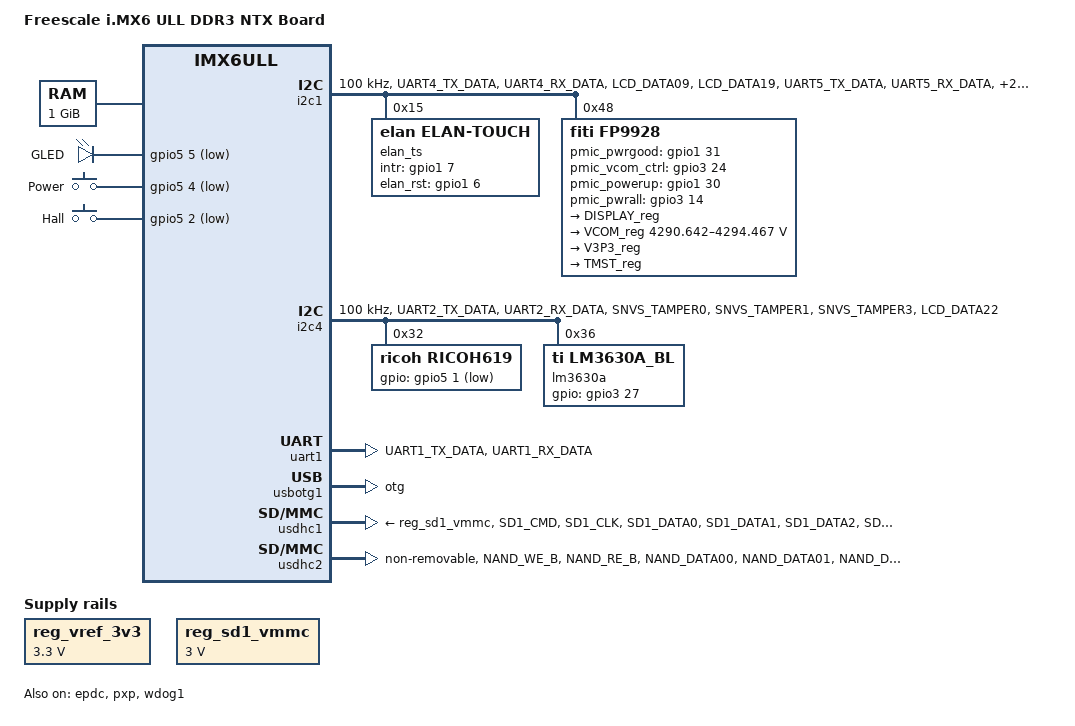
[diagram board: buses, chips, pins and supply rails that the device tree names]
/*
 * Copyright (C) 2016 Freescale Semiconductor, Inc.
 *
 * This program is free software; you can redistribute it and/or modify
 * it under the terms of the GNU General Public License version 2 as
 * published by the Free Software Foundation.
 */

/dts-v1/;

#include <dt-bindings/input/input.h>
#include "imx6ull-ntx.dtsi"

/ {
	model = "Freescale i.MX6 ULL DDR3 NTX Board";
	compatible = "fsl,imx6ull-ddr3-arm2", "fsl,imx6ull";

	chosen {
		stdout-path = &uart1;
	};

	memory {
		reg = <0x80000000 0x40000000>;
	};

	pxp_v4l2 {
		compatible = "fsl,imx6ul-pxp-v4l2", "fsl,imx6sx-pxp-v4l2", "fsl,imx6sl-pxp-v4l2";
		status = "okay";
	};

	aliases {
		mmc0 = &usdhc2;
		mmc1 = &usdhc1;
	};

	regulators {
		compatible = "simple-bus";
		#address-cells = <1>;
		#size-cells = <0>;

		reg_vref_3v3: regulator@1 {
			compatible = "regulator-fixed";
			regulator-name = "vref-3v3";
			regulator-min-microvolt = <3300000>;
			regulator-max-microvolt = <3300000>;
		};
		reg_sd1_vmmc: wifi_regulator {
			compatible = "regulator-fixed";
			regulator-name = "SD1_SPWR";
			regulator-min-microvolt = <3000000>;
			regulator-max-microvolt = <3000000>;
			wifipwr-gpio = <&gpio5 8 GPIO_ACTIVE_HIGH>;
			wifirst-gpio = <&gpio5 7 GPIO_ACTIVE_HIGH>;
			wifiint-gpio = <&gpio5 6 GPIO_ACTIVE_HIGH>;
		};
	};

	leds {
		compatible = "gpio-leds";
		pinctrl-names = "default";
		pinctrl-0 = <&pinctrl_snvs_led>;

		user {
			label = "GLED";
			gpios = <&gpio5 5 GPIO_ACTIVE_LOW>;
			linux,default-trigger = "timer";
		};
	};

	gpio-keys {
		compatible = "gpio-keys";
		pinctrl-names = "default";
		pinctrl-0 = <&pinctrl_snvs_gpio_keys>;
		power {
			label = "Power";
			gpios = <&gpio5 4 GPIO_ACTIVE_LOW>;
			linux,code = <KEY_POWER>;
			gpio-key,wakeup;
		};
		hall {
			label = "Hall";
			gpios = <&gpio5 2 GPIO_ACTIVE_LOW>;
			linux,code = <KEY_F1>;
			/* linux,code = <KEY_H>; */
			gpio-key,wakeup;
		};
	};

	usb_plug {
		compatible = "usb_plug";
	};
	ntx_bl {
		compatible = "ntx_bl";
	};
	ntx_led {
		compatible = "ntx_led";
	};
	ntx_event0 {
		compatible = "ntx_event0";
	};
};

&clks {
	/* For bringup, comments this.
	assigned-clocks = <&clks IMX6UL_CLK_PLL4_AUDIO_DIV>;
	assigned-clock-rates = <786432000>;
	*/
};

&cpu0 {
	/*
	 * on i.MX6ULL, no seperated VDD_ARM_IN and VDD_SOC_IN,
	 * to align with other platform and use the same cpufreq
	 * driver, still use the seperated OPP define for arm
	 * and soc.
	 */
	operating-points = <
		/* kHz	uV */
		900000  1250000
		792000	1200000
		528000	1175000
		396000	1175000
		198000	1175000
	>;
	fsl,soc-operating-points = <
		/* KHz	uV */
		900000  1250000
		792000	1200000
		528000	1175000
		396000	1175000
		198000	1175000
	>;
	arm-supply = <&reg_arm>;
	soc-supply = <&reg_soc>;
/*	arm-supply = <&ricoh619_dcdc1_reg>;*/
/*	soc-supply = <&ricoh619_dcdc1_reg>;*/
/*	fsl,arm-soc-shared = <1>; */
};

&csi {
	status = "disabled";
};

&epdc {
	pinctrl-names = "default";
	pinctrl-0 = <&pinctrl_epdc0>;
	V3P3-supply = <&V3P3_reg>;
	VCOM-supply = <&VCOM_reg>;
	DISPLAY-supply = <&DISPLAY_reg>;
	TMST-supply = <&TMST_reg>;
	status = "okay";
};

&fec1 {
	status = "disabled";
};

&gpc {
	fsl,cpu_pupscr_sw2iso = <0x1>;
	fsl,cpu_pupscr_sw = <0x0>;
	fsl,cpu_pdnscr_iso2sw = <0x1>;
	fsl,cpu_pdnscr_iso = <0x1>;
	fsl,ldo-bypass = <0>; /* use ldo-bypass, u-boot will check it and configure */
};

&gpmi {
	pinctrl-names = "default";
	pinctrl-0 = <&pinctrl_gpmi_nand_1>;
	status = "disabled";
	nand-on-flash-bbt;
};

&i2c1 {
	clock-frequency = <100000>;
	pinctrl-names = "default","sleep";
	pinctrl-0 = <&pinctrl_i2c1 &pinctrl_fp9928_gpio &pinctrl_elan_ts_gpio>;
	pinctrl-1 = <&pinctrl_i2c1_sleep &pinctrl_elan_ts_gpio_sleep>;
	status = "okay";

	elan_ts@15 {
		compatible = "elan,elan-touch";
		reg = <0x15>;

		gpio_intr = <&gpio1 7 0>;
		gpio_elan_rst = <&gpio1 6 0>;
	};

	fp9928@48 {
		compatible = "fiti,fp9928";
		reg = <0x48>;

		gpio_pmic_pwrgood = <&gpio1 31 0>;
		gpio_pmic_vcom_ctrl = <&gpio3 24 GPIO_ACTIVE_HIGH>;
		gpio_pmic_powerup = <&gpio1 30 GPIO_ACTIVE_HIGH>;
		gpio_pmic_pwrall = <&gpio3 14 GPIO_ACTIVE_HIGH>;

		regulators {
			DISPLAY_reg: DISPLAY {
				regulator-name = "DISPLAY";
			};

			VCOM_reg: VCOM {
				regulator-name = "VCOM";
				/* 2's-compliment, -4325000 */
				regulator-min-microvolt = <0xffbe0178>;
				/* 2's-compliment, -500000 */
				regulator-max-microvolt = <0xfff85ee0>;
			};

			V3P3_reg: V3P3 {
				regulator-name = "V3P3";
			};
			TMST_reg: TMST {
				regulator-name = "TMST";
			};

		};
	};
};

&i2c4 {
	clock-frequency = <100000>;
	pinctrl-names = "default";
	pinctrl-0 = <&pinctrl_i2c4 &pinctrl_ricoh_gpio &pinctrl_lm3630a_bl_gpio>;
	status = "okay";

	ricoh619: ricoh619-i2c@32 {
		reg = <0x32>;
		compatible = "ricoh,ricoh619";
		gpios = <&gpio5 1 GPIO_ACTIVE_LOW>;
	};

	lm3630a: lm3630a-i2c@36 {
		reg = <0x36>;
		compatible = "ti,lm3630a_bl";
		gpios = <&gpio3 27 0>;
	};

};

#include "ricoh619_mx6ull_lpddr2.dtsi"

&iomuxc {
	pinctrl-names = "default", "sleep";

	imx6ul-ddr3-arm2 {
		pinctrl_adc1: adc1grp {
			fsl,pins = <
				MX6UL_PAD_GPIO1_IO00__GPIO1_IO00        0xb0
				MX6UL_PAD_GPIO1_IO01__GPIO1_IO01        0xb0
			>;
		};


		pinctrl_csi1: csi1grp {
			fsl,pins = <
				MX6UL_PAD_CSI_MCLK__CSI_MCLK		0x1b088
				MX6UL_PAD_CSI_PIXCLK__CSI_PIXCLK	0x1b088
				MX6UL_PAD_CSI_VSYNC__CSI_VSYNC		0x1b088
				MX6UL_PAD_CSI_HSYNC__CSI_HSYNC		0x1b088
				MX6UL_PAD_CSI_DATA00__CSI_DATA02	0x1b088
				MX6UL_PAD_CSI_DATA01__CSI_DATA03	0x1b088
				MX6UL_PAD_CSI_DATA02__CSI_DATA04	0x1b088
				MX6UL_PAD_CSI_DATA03__CSI_DATA05	0x1b088
				MX6UL_PAD_CSI_DATA04__CSI_DATA06	0x1b088
				MX6UL_PAD_CSI_DATA05__CSI_DATA07	0x1b088
				MX6UL_PAD_CSI_DATA06__CSI_DATA08	0x1b088
				MX6UL_PAD_CSI_DATA07__CSI_DATA09	0x1b088
			>;
		};

		pinctrl_ecspi1_cs_1: ecspi1_cs_grp-1 {
			fsl,pins = <
				MX6UL_PAD_CSI_DATA05__GPIO4_IO26  0x10b0
			>;
		};

		pinctrl_ecspi1_1: ecspi1grp-1 {
			fsl,pins = <
				MX6UL_PAD_CSI_DATA06__ECSPI1_MOSI 0x10b0
				MX6UL_PAD_CSI_DATA07__ECSPI1_MISO 0x10b0
				MX6UL_PAD_CSI_DATA04__ECSPI1_SCLK 0x10b0
			>;
		};

		pinctrl_enet1: enet1grp {
			fsl,pins = <
				MX6UL_PAD_ENET1_RX_EN__ENET1_RX_EN	0x1b0b0
				MX6UL_PAD_ENET1_RX_ER__ENET1_RX_ER	0x1b0b0
				MX6UL_PAD_ENET1_RX_DATA0__ENET1_RDATA00	0x1b0b0
				MX6UL_PAD_ENET1_RX_DATA1__ENET1_RDATA01	0x1b0b0
				MX6UL_PAD_ENET1_TX_EN__ENET1_TX_EN	0x1b0b0
				MX6UL_PAD_ENET1_TX_DATA0__ENET1_TDATA00	0x1b0b0
				MX6UL_PAD_ENET1_TX_DATA1__ENET1_TDATA01	0x1b0b0
				MX6UL_PAD_ENET1_TX_CLK__ENET1_REF_CLK1	0x4001b0a0
			>;
		};

		pinctrl_enet2: enet2grp {
			fsl,pins = <
				MX6UL_PAD_GPIO1_IO07__ENET2_MDC		0x1b098
				MX6UL_PAD_GPIO1_IO06__ENET2_MDIO	0x1b0b0
				MX6UL_PAD_ENET2_TX_DATA0__ENET2_TDATA00	0x1b0a0
				MX6UL_PAD_ENET2_TX_DATA1__ENET2_TDATA01	0x1b0a0
				MX6UL_PAD_UART4_TX_DATA__ENET2_TDATA02	0x1b0a0
				MX6UL_PAD_UART4_RX_DATA__ENET2_TDATA03	0x1b0a0
				MX6UL_PAD_ENET2_TX_CLK__ENET2_TX_CLK	0x4001b0a8
				MX6UL_PAD_ENET2_TX_EN__ENET2_TX_EN	0x1b0b0
				MX6UL_PAD_ENET2_RX_DATA0__ENET2_RDATA00	0x1b0b0
				MX6UL_PAD_ENET2_RX_DATA1__ENET2_RDATA01	0x1b0b0
				MX6UL_PAD_UART3_TX_DATA__ENET2_RDATA02	0x1b0b0
				MX6UL_PAD_UART3_RX_DATA__ENET2_RDATA03	0x1b0b0
				MX6UL_PAD_ENET2_RX_EN__ENET2_RX_EN	0x1b0b0
				MX6UL_PAD_ENET2_RX_ER__ENET2_RX_ER	0x1b0b0
				MX6UL_PAD_UART3_CTS_B__ENET2_RX_CLK	0x4001b0a8
				MX6UL_PAD_UART5_RX_DATA__ENET2_COL	0x1b0b0
				MX6UL_PAD_UART5_TX_DATA__ENET2_CRS	0x1b0b0
			>;
		};

                pinctrl_epdc0: epdcgrp0 {
                        fsl,pins = <
				MX6UL_PAD_ENET2_RX_DATA0__EPDC_SDDO08                    0x10b1
				MX6UL_PAD_ENET2_RX_DATA1__EPDC_SDDO09                    0x10b1
				MX6UL_PAD_ENET2_RX_EN__EPDC_SDDO10                       0x10b1
				MX6UL_PAD_ENET2_TX_DATA0__EPDC_SDDO11                    0x10b1
				MX6UL_PAD_ENET2_TX_DATA1__EPDC_SDDO12                    0x10b1
				MX6UL_PAD_ENET2_TX_EN__EPDC_SDDO13                       0x10b1
				MX6UL_PAD_ENET2_TX_CLK__EPDC_SDDO14                      0x10b1
				MX6UL_PAD_ENET2_RX_ER__EPDC_SDDO15                       0x10b1
				MX6UL_PAD_LCD_CLK__EPDC_SDCLK                            0x10b1
				MX6UL_PAD_LCD_ENABLE__EPDC_SDLE                          0x10b1
				MX6UL_PAD_LCD_HSYNC__EPDC_SDOE                           0x10b1
				MX6UL_PAD_LCD_VSYNC__EPDC_SDCE0                          0x10b1
				MX6UL_PAD_LCD_DATA00__EPDC_SDDO00                        0x10b1
				MX6UL_PAD_LCD_DATA01__EPDC_SDDO01                        0x10b1
				MX6UL_PAD_LCD_DATA02__EPDC_SDDO02                        0x10b1
				MX6UL_PAD_LCD_DATA03__EPDC_SDDO03                        0x10b1
				MX6UL_PAD_LCD_DATA04__EPDC_SDDO04                        0x10b1
				MX6UL_PAD_LCD_DATA05__EPDC_SDDO05                        0x10b1
				MX6UL_PAD_LCD_DATA06__EPDC_SDDO06                        0x10b1
				MX6UL_PAD_LCD_DATA07__EPDC_SDDO07                        0x10b1
				MX6UL_PAD_LCD_DATA14__EPDC_SDSHR                         0x10b1
				MX6UL_PAD_LCD_DATA15__EPDC_GDRL                          0x10b1
				MX6UL_PAD_LCD_DATA16__EPDC_GDCLK                         0x10b1
				MX6UL_PAD_LCD_DATA17__EPDC_GDSP                          0x10b1
				MX6UL_PAD_LCD_RESET__EPDC_GDOE                           0x10b1
                        >;
                };

		pinctrl_esai: esaigrp {
			fsl,pins = <
				MX6UL_PAD_CSI_DATA00__ESAI_TX_HF_CLK     0x1b0b0
				MX6UL_PAD_CSI_DATA01__ESAI_RX_HF_CLK     0x1b0b0
				MX6UL_PAD_CSI_DATA04__ESAI_TX_FS         0x1b0b0
				MX6UL_PAD_CSI_DATA05__ESAI_TX_CLK        0x1b0b0
				MX6UL_PAD_CSI_DATA07__ESAI_T0            0x1b0b0
				MX6UL_PAD_CSI_HSYNC__ESAI_TX1            0x1b0b0
				MX6UL_PAD_CSI_PIXCLK__ESAI_TX2_RX3       0x1b0b0
				MX6UL_PAD_CSI_MCLK__ESAI_TX3_RX2         0x1b0b0
				MX6UL_PAD_CSI_DATA02__ESAI_RX_FS         0x1b0b0
				MX6UL_PAD_CSI_DATA03__ESAI_RX_CLK        0x1b0b0
				MX6UL_PAD_CSI_DATA06__ESAI_TX5_RX0       0x1b0b0
				MX6UL_PAD_CSI_VSYNC__ESAI_TX4_RX1        0x1b0b0
			>;
		};

		pinctrl_flexcan2: flexcan2grp{
			fsl,pins = <
				MX6UL_PAD_UART2_RTS_B__FLEXCAN2_RX	0x1b020
				MX6UL_PAD_UART2_CTS_B__FLEXCAN2_TX	0x1b020
				MX6UL_PAD_JTAG_TRST_B__GPIO1_IO15	0x17059	/* STBY */
			>;
		};

		pinctrl_gpmi_nand_1: gpmi-nand-1 {
			fsl,pins = <
				MX6UL_PAD_NAND_CLE__RAWNAND_CLE         0xb0b1
				MX6UL_PAD_NAND_ALE__RAWNAND_ALE         0xb0b1
				MX6UL_PAD_NAND_WP_B__RAWNAND_WP_B       0xb0b1
				MX6UL_PAD_NAND_READY_B__RAWNAND_READY_B 0xb000
				MX6UL_PAD_NAND_CE0_B__RAWNAND_CE0_B     0xb0b1
				MX6UL_PAD_NAND_CE1_B__RAWNAND_CE1_B     0xb0b1
				MX6UL_PAD_NAND_RE_B__RAWNAND_RE_B       0xb0b1
				MX6UL_PAD_NAND_WE_B__RAWNAND_WE_B       0xb0b1
				MX6UL_PAD_NAND_DATA00__RAWNAND_DATA00   0xb0b1
				MX6UL_PAD_NAND_DATA01__RAWNAND_DATA01   0xb0b1
				MX6UL_PAD_NAND_DATA02__RAWNAND_DATA02   0xb0b1
				MX6UL_PAD_NAND_DATA03__RAWNAND_DATA03   0xb0b1
				MX6UL_PAD_NAND_DATA04__RAWNAND_DATA04   0xb0b1
				MX6UL_PAD_NAND_DATA05__RAWNAND_DATA05   0xb0b1
				MX6UL_PAD_NAND_DATA06__RAWNAND_DATA06   0xb0b1
				MX6UL_PAD_NAND_DATA07__RAWNAND_DATA07   0xb0b1
			>;
		};

		pinctrl_i2c1: i2c1grp {
			fsl,pins = <
				MX6UL_PAD_UART4_TX_DATA__I2C1_SCL	0x4001F8b0
				MX6UL_PAD_UART4_RX_DATA__I2C1_SDA	0x4001F8b0
			>;
		};

		pinctrl_i2c1_sleep: i2c1grp_sleep {
			fsl,pins = <
				MX6UL_PAD_UART4_TX_DATA__I2C1_SCL	0x400108b0
				MX6UL_PAD_UART4_RX_DATA__I2C1_SDA	0x400108b0
			>;
		};

		pinctrl_i2c4: i2c4grp {
			fsl,pins = <
				MX6UL_PAD_UART2_TX_DATA__I2C4_SCL	0x4001F8b0
				MX6UL_PAD_UART2_RX_DATA__I2C4_SDA	0x4001F8b0
			>;
		};

		pinctrl_i2c4_sleep: i2c4grp_sleep {
			fsl,pins = <
				MX6UL_PAD_UART2_TX_DATA__I2C4_SCL	0x400108b0
				MX6UL_PAD_UART2_RX_DATA__I2C4_SDA	0x400108b0
			>;
		};

		pinctrl_lcdif_dat: lcdifdatgrp {
			fsl,pins = <
				MX6UL_PAD_LCD_DATA00__LCDIF_DATA00  0x79
				MX6UL_PAD_LCD_DATA01__LCDIF_DATA01  0x79
				MX6UL_PAD_LCD_DATA02__LCDIF_DATA02  0x79
				MX6UL_PAD_LCD_DATA03__LCDIF_DATA03  0x79
				MX6UL_PAD_LCD_DATA04__LCDIF_DATA04  0x79
				MX6UL_PAD_LCD_DATA05__LCDIF_DATA05  0x79
				MX6UL_PAD_LCD_DATA06__LCDIF_DATA06  0x79
				MX6UL_PAD_LCD_DATA07__LCDIF_DATA07  0x79
				MX6UL_PAD_LCD_DATA08__LCDIF_DATA08  0x79
				MX6UL_PAD_LCD_DATA09__LCDIF_DATA09  0x79 
				MX6UL_PAD_LCD_DATA10__LCDIF_DATA10  0x79
				MX6UL_PAD_LCD_DATA11__LCDIF_DATA11  0x79 
				MX6UL_PAD_LCD_DATA12__LCDIF_DATA12  0x79
				MX6UL_PAD_LCD_DATA13__LCDIF_DATA13  0x79
				MX6UL_PAD_LCD_DATA14__LCDIF_DATA14  0x79
				MX6UL_PAD_LCD_DATA15__LCDIF_DATA15  0x79
				MX6UL_PAD_LCD_DATA16__LCDIF_DATA16  0x79
				MX6UL_PAD_LCD_DATA17__LCDIF_DATA17  0x79
				MX6UL_PAD_LCD_DATA18__LCDIF_DATA18  0x79
				MX6UL_PAD_LCD_DATA19__LCDIF_DATA19  0x79 
				MX6UL_PAD_LCD_DATA20__LCDIF_DATA20  0x79
				MX6UL_PAD_LCD_DATA21__LCDIF_DATA21  0x79
				MX6UL_PAD_LCD_DATA22__LCDIF_DATA22  0x79
				MX6UL_PAD_LCD_DATA23__LCDIF_DATA23  0x79
			>;
		};

		pinctrl_lcdif_ctrl: lcdifctrlgrp {
			fsl,pins = <
				MX6UL_PAD_LCD_CLK__LCDIF_CLK	    0x79
				MX6UL_PAD_LCD_ENABLE__LCDIF_ENABLE  0x79
				MX6UL_PAD_LCD_HSYNC__LCDIF_HSYNC    0x79
				MX6UL_PAD_LCD_VSYNC__LCDIF_VSYNC    0x79
				MX6UL_PAD_LCD_RESET__LCDIF_RESET    0x79
			>;
		};

		pinctrl_mqs: mqsgrp {
			fsl,pins = <
				MX6UL_PAD_JTAG_TDI__MQS_LEFT         0x11088
				MX6UL_PAD_JTAG_TDO__MQS_RIGHT        0x11088
			>;
		};

		pinctrl_pwm1: pmw1grp {
			fsl,pins = <
				MX6UL_PAD_ENET1_RX_DATA0__PWM1_OUT   0x110b0
			>;
		};

		pinctrl_qspi: qspigrp {
			fsl,pins = <
				MX6UL_PAD_NAND_WP_B__QSPI_A_SCLK      0x70a1
				MX6UL_PAD_NAND_READY_B__QSPI_A_DATA00 0x70a1
				MX6UL_PAD_NAND_CE0_B__QSPI_A_DATA01   0x70a1
				MX6UL_PAD_NAND_CE1_B__QSPI_A_DATA02   0x70a1
				MX6UL_PAD_NAND_CLE__QSPI_A_DATA03     0x70a1
				MX6UL_PAD_NAND_DQS__QSPI_A_SS0_B      0x70a1
#ifdef REWORKED_ENABLE_ALL_QSPI
				MX6UL_PAD_NAND_DATA07__QSPI_A_SS1_B   0x70a1
				MX6UL_PAD_NAND_RE_B__QSPI_B_SCLK      0x70a1
				MX6UL_PAD_NAND_DATA02__QSPI_B_DATA00  0x70a1
				MX6UL_PAD_NAND_DATA03__QSPI_B_DATA01  0x70a1
				MX6UL_PAD_NAND_DATA04__QSPI_B_DATA02  0x70a1
				MX6UL_PAD_NAND_DATA05__QSPI_B_DATA03  0x70a1
				MX6UL_PAD_NAND_WE_B__QSPI_B_SS0_B     0x70a1
				MX6UL_PAD_NAND_DATA00__QSPI_B_SS1_B   0x70a1
#endif
			>;
		};

		pinctrl_sai2: sai2grp {
			fsl,pins = <
				MX6UL_PAD_SD1_DATA0__SAI2_TX_SYNC     0x1b0b0
				MX6UL_PAD_SD1_DATA1__SAI2_TX_BCLK     0x1b0b0
				MX6UL_PAD_SD1_DATA2__SAI2_RX_DATA     0x110b0
				MX6UL_PAD_SD1_DATA3__SAI2_TX_DATA     0x110b0
				MX6UL_PAD_SD1_CLK__SAI2_MCLK          0x1b0b0
			>;
		};

		pinctrl_uart1: uart1grp {
			fsl,pins = <
				MX6UL_PAD_UART1_TX_DATA__UART1_DCE_TX 0x1b0b1
				MX6UL_PAD_UART1_RX_DATA__UART1_DCE_RX 0x1b0b1
			>;
		};

		pinctrl_usb_otg1_id: usbotg1idgrp {
			fsl,pins = <
				MX6UL_PAD_GPIO1_IO00__ANATOP_OTG1_ID	0x17059
			>;
		};

		pinctrl_usb_otg1: usbotg1grp {
			fsl,pins = <
				MX6UL_PAD_GPIO1_IO04__GPIO1_IO04        0x10b0
			>;
		};

		pinctrl_usdhc1: usdhc1grp {
			fsl,pins = <
				MX6UL_PAD_SD1_CMD__USDHC1_CMD     0x17059
				MX6UL_PAD_SD1_CLK__USDHC1_CLK     0x10059
				MX6UL_PAD_SD1_DATA0__USDHC1_DATA0 0x17059
				MX6UL_PAD_SD1_DATA1__USDHC1_DATA1 0x17059
				MX6UL_PAD_SD1_DATA2__USDHC1_DATA2 0x17059
				MX6UL_PAD_SD1_DATA3__USDHC1_DATA3 0x17059
			>;
		};

		pinctrl_usdhc1_sleep: usdhc1grp_sleep {
			fsl,pins = <
				MX6UL_PAD_SD1_CMD__USDHC1_CMD     0x10059
				MX6UL_PAD_SD1_CLK__USDHC1_CLK     0x10059
				MX6UL_PAD_SD1_DATA0__USDHC1_DATA0 0x10059
				MX6UL_PAD_SD1_DATA1__USDHC1_DATA1 0x10059
				MX6UL_PAD_SD1_DATA2__USDHC1_DATA2 0x10059
				MX6UL_PAD_SD1_DATA3__USDHC1_DATA3 0x10059
			>;
		};

		pinctrl_usdhc1_100mhz: usdhc1grp100mhz {
			fsl,pins = <
				MX6UL_PAD_SD1_CMD__USDHC1_CMD     0x170b9
				MX6UL_PAD_SD1_CLK__USDHC1_CLK     0x100b9
				MX6UL_PAD_SD1_DATA0__USDHC1_DATA0 0x170b9
				MX6UL_PAD_SD1_DATA1__USDHC1_DATA1 0x170b9
				MX6UL_PAD_SD1_DATA2__USDHC1_DATA2 0x170b9
				MX6UL_PAD_SD1_DATA3__USDHC1_DATA3 0x170b9
			>;
		};

		pinctrl_usdhc1_200mhz: usdhc1grp200mhz {
			fsl,pins = <
				MX6UL_PAD_SD1_CMD__USDHC1_CMD     0x170f9
				MX6UL_PAD_SD1_CLK__USDHC1_CLK     0x100f9
				MX6UL_PAD_SD1_DATA0__USDHC1_DATA0 0x170f9
				MX6UL_PAD_SD1_DATA1__USDHC1_DATA1 0x170f9
				MX6UL_PAD_SD1_DATA2__USDHC1_DATA2 0x170f9
				MX6UL_PAD_SD1_DATA3__USDHC1_DATA3 0x170f9
			>;
		};

		pinctrl_usdhc1_8bit: usdhc1_8bit_grp {
			fsl,pins = <
				MX6UL_PAD_SD1_CMD__USDHC1_CMD     	0x17059
				MX6UL_PAD_SD1_CLK__USDHC1_CLK     	0x10059
				MX6UL_PAD_SD1_DATA0__USDHC1_DATA0 	0x17059
				MX6UL_PAD_SD1_DATA1__USDHC1_DATA1 	0x17059
				MX6UL_PAD_SD1_DATA2__USDHC1_DATA2 	0x17059
				MX6UL_PAD_SD1_DATA3__USDHC1_DATA3 	0x17059
				MX6UL_PAD_NAND_READY_B__USDHC1_DATA4	0x17059
				MX6UL_PAD_NAND_CE0_B__USDHC1_DATA5	0x17059
				MX6UL_PAD_NAND_CE1_B__USDHC1_DATA6	0x17059
				MX6UL_PAD_NAND_CLE__USDHC1_DATA7	0x17059
			>;
		};

		pinctrl_usdhc1_8bit_100mhz: usdhc1_8bit_100mhz_grp {
			fsl,pins = <
				MX6UL_PAD_SD1_CMD__USDHC1_CMD     	0x170b9
				MX6UL_PAD_SD1_CLK__USDHC1_CLK     	0x100b9
				MX6UL_PAD_SD1_DATA0__USDHC1_DATA0 	0x170b9
				MX6UL_PAD_SD1_DATA1__USDHC1_DATA1 	0x170b9
				MX6UL_PAD_SD1_DATA2__USDHC1_DATA2 	0x170b9
				MX6UL_PAD_SD1_DATA3__USDHC1_DATA3 	0x170b9
				MX6UL_PAD_NAND_READY_B__USDHC1_DATA4	0x170b9
				MX6UL_PAD_NAND_CE0_B__USDHC1_DATA5	0x170b9
				MX6UL_PAD_NAND_CE1_B__USDHC1_DATA6	0x170b9
				MX6UL_PAD_NAND_CLE__USDHC1_DATA7	0x170b9
			>;
		};

		pinctrl_usdhc1_8bit_200mhz: usdhc1_8bit_200mhz_grp {
			fsl,pins = <
				MX6UL_PAD_SD1_CMD__USDHC1_CMD     	0x170f9
				MX6UL_PAD_SD1_CLK__USDHC1_CLK     	0x100f9
				MX6UL_PAD_SD1_DATA0__USDHC1_DATA0 	0x170f9
				MX6UL_PAD_SD1_DATA1__USDHC1_DATA1 	0x170f9
				MX6UL_PAD_SD1_DATA2__USDHC1_DATA2 	0x170f9
				MX6UL_PAD_SD1_DATA3__USDHC1_DATA3 	0x170f9
				MX6UL_PAD_NAND_READY_B__USDHC1_DATA4	0x170f9
				MX6UL_PAD_NAND_CE0_B__USDHC1_DATA5	0x170f9
				MX6UL_PAD_NAND_CE1_B__USDHC1_DATA6	0x170f9
				MX6UL_PAD_NAND_CLE__USDHC1_DATA7	0x170f9
			>;
		};

		pinctrl_usdhc1_cd_wp: usdhc1_cd_wp_grp {
			fsl,pins = <
				MX6UL_PAD_UART1_RTS_B__GPIO1_IO19	0x17059	/* SD1 CD */
				MX6UL_PAD_UART1_CTS_B__GPIO1_IO18	0x17059	/* SD1 WP */
			>;
		};

		pinctrl_elan_ts_gpio: elan_ts_gpio_grp {
			fsl,pins = <
				MX6UL_PAD_GPIO1_IO07__GPIO1_IO07		0x17059 /* TP_INT */
				MX6UL_PAD_GPIO1_IO06__GPIO1_IO06		0x10059 /* TP_RST */
			>;
		};

		pinctrl_elan_ts_gpio_sleep: elan_ts_gpio_grp_sleep {
			fsl,pins = <
				MX6UL_PAD_GPIO1_IO07__GPIO1_IO07		0x10059 /* TP_INT */
				MX6UL_PAD_GPIO1_IO06__GPIO1_IO06		0x10059 /* TP_RST */
			>;
		};

		pinctrl_fp9928_gpio: fp9928_gpio_grp {
			fsl,pins = <
				MX6UL_PAD_LCD_DATA09__GPIO3_IO14_SION		0x10059 /* EP_PWRALL */
				MX6UL_PAD_LCD_DATA19__GPIO3_IO24_SION		0x10059 /* VCOM_CTRL0 */
				MX6UL_PAD_UART5_TX_DATA__GPIO1_IO30_SION		0x10059 /* EP_PWRCTRL2 */
				MX6UL_PAD_UART5_RX_DATA__GPIO1_IO31		0x10059 /* EP_PWRSTAT */
			>;
		};

		pinctrl_lm3630a_bl_gpio: lm3630a_bl_gpio_grp {
			fsl,pins = <
				MX6UL_PAD_LCD_DATA22__GPIO3_IO27		0x17059 /* FL_EN */
			>;
		};

		pinctrl_usdhc1_vselect: usdhc1_vselect_grp {
			fsl,pins = <
				MX6UL_PAD_GPIO1_IO05__USDHC1_VSELECT	0x17059	/* SD1 VSELECT */
			>;
		};

		pinctrl_usdhc2: usdhc2grp {
			fsl,pins = <
				MX6UL_PAD_NAND_WE_B__USDHC2_CMD	0x17059
				MX6UL_PAD_NAND_RE_B__USDHC2_CLK	0x10059
				MX6UL_PAD_NAND_DATA00__USDHC2_DATA0	0x17059
				MX6UL_PAD_NAND_DATA01__USDHC2_DATA1	0x17059
				MX6UL_PAD_NAND_DATA02__USDHC2_DATA2	0x17059
				MX6UL_PAD_NAND_DATA03__USDHC2_DATA3	0x17059
			>;
		};

		pinctrl_usdhc2_sleep: usdhc2grp_sleep {
			fsl,pins = <
				MX6UL_PAD_NAND_WE_B__USDHC2_CMD	0x10059
				MX6UL_PAD_NAND_RE_B__USDHC2_CLK	0x10059
				MX6UL_PAD_NAND_DATA00__USDHC2_DATA0	0x10059
				MX6UL_PAD_NAND_DATA01__USDHC2_DATA1	0x10059
				MX6UL_PAD_NAND_DATA02__USDHC2_DATA2	0x10059
				MX6UL_PAD_NAND_DATA03__USDHC2_DATA3	0x10059
			>;
		};

		pinctrl_usdhc2_100mhz: usdhc2grp100mhz {
			fsl,pins = <
				MX6UL_PAD_NAND_WE_B__USDHC2_CMD	0x170b9
				MX6UL_PAD_NAND_RE_B__USDHC2_CLK	0x100a9
				MX6UL_PAD_NAND_DATA00__USDHC2_DATA0	0x170a9
				MX6UL_PAD_NAND_DATA01__USDHC2_DATA1	0x170a9
				MX6UL_PAD_NAND_DATA02__USDHC2_DATA2	0x170a9
				MX6UL_PAD_NAND_DATA03__USDHC2_DATA3	0x170a9
			>;
		};

		pinctrl_usdhc2_200mhz: usdhc2grp200mhz {
			fsl,pins = <
				MX6UL_PAD_NAND_WE_B__USDHC2_CMD	0x170f9
				MX6UL_PAD_NAND_RE_B__USDHC2_CLK	0x100f9
				MX6UL_PAD_NAND_DATA00__USDHC2_DATA0	0x170f9
				MX6UL_PAD_NAND_DATA01__USDHC2_DATA1	0x170f9
				MX6UL_PAD_NAND_DATA02__USDHC2_DATA2	0x170f9
				MX6UL_PAD_NAND_DATA03__USDHC2_DATA3	0x170f9
			>;
		};

		pinctrl_usdhc2_rst: usdhc2_rst_grp {
			fsl,pins = <
				MX6UL_PAD_NAND_ALE__GPIO4_IO10          0x17059 /* SD2 RESET */
			>;
		};

		pinctrl_wdog: wdoggrp {
			fsl,pins = <
				MX6UL_PAD_UART3_RTS_B__WDOG1_WDOG_B	0x30b0
			>;
		};

	};
};

&iomuxc_snvs {
	imx6ul-ddr3-arm2 {
		pinctrl_snvs_gpio_keys: gpio_snvs_keys_grp {
			fsl,pins = <
				MX6ULL_PAD_SNVS_TAMPER2__GPIO5_IO02	0x17059	/* HALL_EN */
				MX6ULL_PAD_SNVS_TAMPER4__GPIO5_IO04	0x17059	/* PWR_SW */
			>;
		};

		pinctrl_snvs_led: led_grp {
			fsl,pins = <
				MX6ULL_PAD_SNVS_TAMPER5__GPIO5_IO05	0x80000000	/* ON_LED */
			>;
		};

		pinctrl_ricoh_gpio: ricoh_gpio_grp {
			fsl,pins = <
				MX6ULL_PAD_SNVS_TAMPER0__GPIO5_IO00		0x17059 /* ricoh619 CHG# */
				MX6ULL_PAD_SNVS_TAMPER1__GPIO5_IO01		0x17059 /* ricoh619 irq */
				MX6ULL_PAD_SNVS_TAMPER3__GPIO5_IO03		0x17059 /* ricoh619 bat_low_irq */
			>;
		};

		pinctrl_usdhc1_pwr: usdhc1_pwr_grp {
			fsl,pins = <
				MX6ULL_PAD_SNVS_TAMPER6__GPIO5_IO06	0x80000000	/* WIFI_INT */
				MX6ULL_PAD_SNVS_TAMPER7__GPIO5_IO07	0x80000000	/* WIFI_RST */
				MX6ULL_PAD_SNVS_TAMPER8__GPIO5_IO08	0x80000000	/* WIFI_3V3_ON */
			>;
		};

	};
};

&lcdif {
	pinctrl-names = "default";
	pinctrl-0 = <&pinctrl_lcdif_dat
		     &pinctrl_lcdif_ctrl>;
	display = <&display0>;
	status = "disabled";

	display0: display {
		bits-per-pixel = <16>;
		bus-width = <24>;

		display-timings {
			native-mode = <&timing0>;
			timing0: timing0 {
				clock-frequency = <33500000>;
				hactive = <800>;
				vactive = <480>;
				hback-porch = <89>;
				hfront-porch = <164>;
				vback-porch = <23>;
				vfront-porch = <10>;
				hsync-len = <10>;
				vsync-len = <10>;
				hsync-active = <0>;
				vsync-active = <0>;
				de-active = <1>;
				pixelclk-active = <0>;
			};
		};
	};
};

&pwm1 {
	pinctrl-names = "default";
	pinctrl-0 = <&pinctrl_pwm1>;
	status = "disabled";
};

&pxp {
	status = "okay";
};

&qspi {
	pinctrl-names = "default";
	pinctrl-0 = <&pinctrl_qspi>;
	status = "disabled";
#ifdef REWORKED_ENABLE_ALL_QSPI
	fsl,qspi-has-second-chip = <1>;
#endif
	ddrsmp=<0>;
};

&uart1 {
	pinctrl-names = "default";
	pinctrl-0 = <&pinctrl_uart1>;
	status = "okay";
};

&uart2 {
	pinctrl-names = "default";
	fsl,uart-has-rtscts;
	/* for DTE mode, add below change */
	/* fsl,dte-mode; */
	/* pinctrl-0 = <&pinctrl_uart2dte>; */
	status = "disabled";
};

&usbotg1 {
	dr_mode = "otg";
	srp-disable;
	hnp-disable;
	adp-disable;
	status = "okay";
};

&usdhc1 {
	pinctrl-names = "default","sleep";
	pinctrl-0 = <&pinctrl_usdhc1>, <&pinctrl_usdhc1_pwr>;
	pinctrl-1 = <&pinctrl_usdhc1_sleep>;
	vmmc-supply = <&reg_sd1_vmmc>;
	wifi-host;
	status = "okay";
};

&usdhc2 {
	pinctrl-names = "default","sleep";
	pinctrl-0 = <&pinctrl_usdhc2>;
	pinctrl-1 = <&pinctrl_usdhc2_sleep>;
	non-removable;
	no-1-8-v;	/* VSELECT not connected by default */
	keep-power-in-suspend;
	status = "okay";
};

&wdog1 {
	pinctrl-names = "default";
	pinctrl-0 = <&pinctrl_wdog>;
	fsl,wdog_b;
	status = "okay";
};

